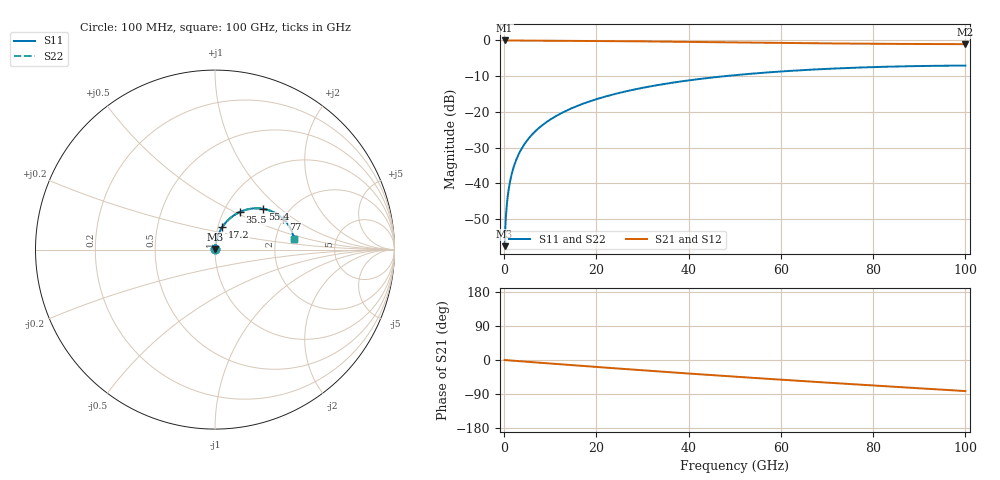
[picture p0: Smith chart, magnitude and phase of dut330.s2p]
! Touchstone file exported from HFSS 2026.1.0
!  File:  C:/ffzhzh/LocalFiles/Ansys_Project_Files/temp_train_RDL_330_1783502866_31944.aedt
!  Generated:  05:28:58 PM Jul  8, 2026
!  Design:  RDL
!  Project:  temp_train_RDL_330_1783502866_31944
! Variables:
!  h_bsmrdl = 2um
!  h_ox = 20um
!  h_rdl = 5um
!  h_sub = 80um
!  h_tmrdl = 4.26um
!  h_tsv = 80um
!  h_via = 3um
!  l_bsmrdl = 300um
!  l_sub = 651.32um
!  l_tmrdl = 251.32um
!  m_sub = 200um
!  pitch = 50.81um
!  r_tsv = 6um
!  s_tmrdl = 10um
!  w_bsmrdl = 18um
!  w_sub = 500um
!  w_tmrdl = 28.89um
!  x_tsv_center1 = 265.765um
!  x_tsv_center2 = 583.765um
!  x_tsv_center3 = 863.975um
!  x_tsv_center4 = 1181.975um
!  x_tsv_center5 = 1462.185um
!  x_tsv_center6 = 1780.185um
# GHz S MA R 50.000000
! Terminal data exported
! Port[1] = TM_RDL1_1_T1
! Port[2] = TM_RDL1_1_T2
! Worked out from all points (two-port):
!   1000 points, 100 MHz to 100 GHz, reference 50 ohm
!   highest |S21| = -0.01 dB at 100 MHz (marker M1); lowest = -1.0 dB at 100 GHz (marker M2)
!   |S21| within 3 dB of the highest: start of sweep to end of sweep
!   lowest |S11| = -57.6 dB at 100 MHz (marker M3), VSWR 1.00, Z = 50.1 + j0.0927 ohm
!   |S11| at or under -10 dB: start of sweep to 47.87 GHz
!   |S22| runs from -57.6 to -7.0 dB; largest |S21 - S12| = 5.2e-15
!   S11 on the Smith chart (normalised r, x): 100 MHz: 1.00, +0.00; 17.2 GHz: 1.05, +0.27; 35.5 GHz: 1.19, +0.53; 55.4 GHz: 1.48, +0.77; 77 GHz: 2.00, +0.83; 100 GHz: 2.54, +0.36
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0.1  0.001319 44.5  0.9991 -0.1  0.9991 -0.1  0.001319 44.5
! Gamma 0 0 0 0
! Port Impedance 50 0 50 0
0.4  0.003592 71.2  0.9989 -0.4  0.9989 -0.4  0.003592 71.2
0.8  0.00673 78.7  0.9988 -0.8  0.9988 -0.8  0.00673 78.7
1.1  0.009127 80.9  0.9987 -1.0  0.9987 -1.0  0.009127 80.9
1.4  0.01154 82.1  0.9986 -1.3  0.9986 -1.3  0.01154 82.1
1.9  0.01555 82.9  0.9985 -1.8  0.9985 -1.8  0.01555 82.9
2.5  0.02036 83.2  0.9982 -2.4  0.9982 -2.4  0.02036 83.2
4  0.03223 82.7  0.9975 -3.8  0.9975 -3.8  0.03223 82.7
6.1  0.04852 81.2  0.9962 -5.7  0.9962 -5.7  0.04852 81.2
8.9  0.0698 79.0  0.9943 -8.3  0.9943 -8.3  0.0698 79.0
12.4  0.09587 76.2  0.9914 -11.5  0.9914 -11.5  0.09587 76.2
16.8  0.1279 72.5  0.9872 -15.5  0.9872 -15.5  0.1279 72.5
17.2  0.1307 72.1  0.9868 -15.8  0.9868 -15.8  0.1307 72.2
24.5  0.1812 66.0  0.978 -22.3  0.978 -22.3  0.1812 66.0
33.4  0.2379 58.4  0.9651 -30.1  0.9651 -30.1  0.2379 58.5
35.5  0.2504 56.7  0.9618 -31.9  0.9618 -31.9  0.2504 56.7
50.1  0.3266 44.8  0.938 -44.0  0.938 -44.0  0.3266 44.8
55.4  0.3496 40.6  0.9296 -48.3  0.9296 -48.3  0.3496 40.6
66.7  0.3902 31.9  0.9132 -57.1  0.9132 -57.1  0.3902 31.9
77  0.4172 24.1  0.9011 -65.0  0.9011 -65.0  0.4172 24.2
83.4  0.4293 19.4  0.8953 -69.8  0.8953 -69.8  0.4293 19.5
100  0.4445 7.4  0.8874 -82.0  0.8874 -82.0  0.4445 7.4
